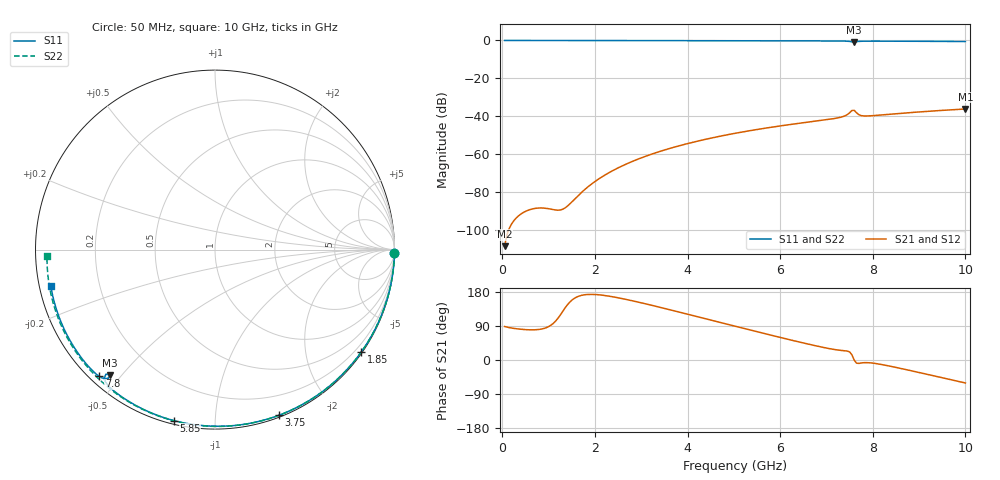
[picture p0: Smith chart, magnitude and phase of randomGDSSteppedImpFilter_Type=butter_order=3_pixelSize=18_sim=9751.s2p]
! freq	dB(S11)	phase(S11)	dB(S12)	phase(S12)
!  dB(S21)	phase(S21)	dB(S22)	phase(S22)
!S-par simulation data
#  GHz  S  DB  R 50
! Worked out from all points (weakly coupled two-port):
!   200 points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, 50 MHz to 10 GHz, reference 50 ohm
!   highest |S21| = -36.06 dB at 10 GHz (marker M1); lowest = -108.3 dB at 50 MHz (marker M2)
!   lowest |S11| = -0.8 dB at 7.6 GHz (marker M3), VSWR 21.63, Z = 2.81 - j23.2 ohm
!   |S11| at or under -10 dB: nowhere
!   |S22| runs from -0.6 to 0.0 dB; largest |S21 - S12| = 0
!   S11 on the Smith chart (normalised r, x): 50 MHz: open; 1.85 GHz: 0.03, -3.16; 3.75 GHz: 0.02, -1.45; 5.85 GHz: 0.02, -0.79; 7.8 GHz: 0.03, -0.44; 10 GHz: 0.03, -0.11
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0.05  -0.00 -1.0  -108.26 88.3  -108.26 88.3  -0.00 -1.0
0.85  -0.02 -16.3  -88.16 81.7  -88.16 81.7  -0.02 -17.7
1.7  -0.04 -32.3  -80.20 170.3  -80.20 170.3  -0.04 -34.9
1.75  -0.04 -33.2  -79.10 171.6  -79.10 171.6  -0.05 -35.9
1.85  -0.04 -35.1  -77.02 172.9  -77.02 172.9  -0.05 -37.9
2.15  -0.05 -40.6  -71.81 171.2  -71.81 171.2  -0.06 -43.8
2.5  -0.06 -47.0  -67.06 164.2  -67.06 164.2  -0.06 -50.7
2.9  -0.07 -54.1  -62.74 153.8  -62.74 153.8  -0.08 -58.4
3.4  -0.08 -62.9  -58.42 139.2  -58.42 139.2  -0.09 -67.7
3.75  -0.09 -69.0  -55.89 128.6  -55.89 128.6  -0.10 -74.2
5.05  -0.14 -90.7  -48.75 88.5  -48.75 88.5  -0.15 -97.1
5.85  -0.18 -103.5  -45.52 64.1  -45.52 64.1  -0.19 -110.6
6.7  -0.23 -116.9  -42.66 39.3  -42.66 39.3  -0.24 -124.5
7.3  -0.29 -126.7  -40.45 25.5  -40.45 25.5  -0.29 -134.1
7.5  -0.49 -130.7  -38.06 21.3  -38.06 21.3  -0.30 -137.3
7.55  -0.70 -131.2  -36.87 13.7  -36.87 13.7  -0.31 -138.1
7.6  -0.80 -130.0  -36.77 -0.4  -36.77 -0.4  -0.31 -138.8
7.7  -0.48 -130.5  -39.08 -8.9  -39.08 -8.9  -0.31 -140.5
7.8  -0.39 -132.4  -39.71 -7.2  -39.71 -7.2  -0.32 -142.1
8.35  -0.38 -141.5  -38.87 -15.7  -38.87 -15.7  -0.38 -150.9
9.2  -0.46 -154.8  -37.28 -38.5  -37.28 -38.5  -0.47 -164.6
10  -0.57 -167.6  -36.06 -60.7  -36.06 -60.7  -0.57 -177.9
